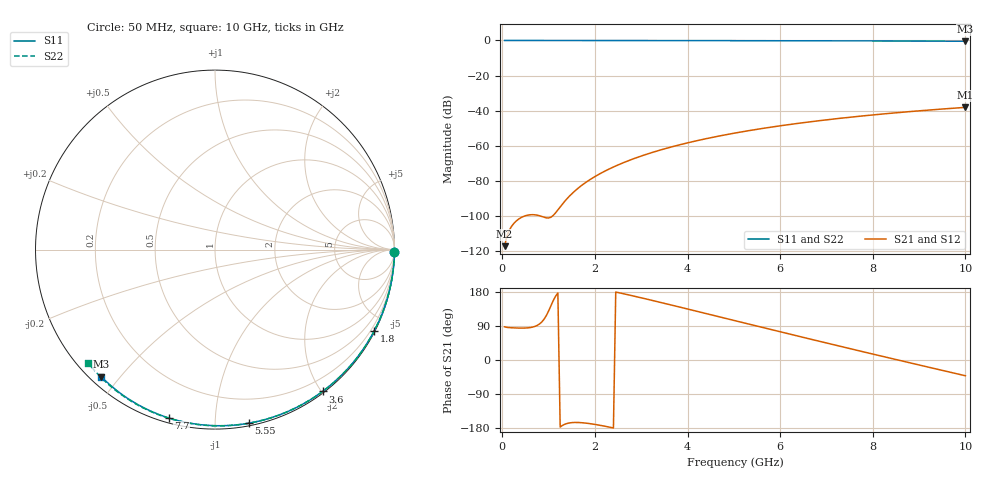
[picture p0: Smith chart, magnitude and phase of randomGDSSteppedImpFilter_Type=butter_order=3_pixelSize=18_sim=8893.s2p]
! freq	dB(S11)	phase(S11)	dB(S12)	phase(S12)
!  dB(S21)	phase(S21)	dB(S22)	phase(S22)
!S-par simulation data
#  GHz  S  DB  R 50
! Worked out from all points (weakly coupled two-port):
!   200 points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, 50 MHz to 10 GHz, reference 50 ohm
!   highest |S21| = -38.13 dB at 10 GHz (marker M1); lowest = -117.2 dB at 50 MHz (marker M2)
!   lowest |S11| = -0.4 dB at 10 GHz (marker M3), VSWR 38.93, Z = 1.54 - j22.3 ohm
!   |S11| at or under -10 dB: nowhere
!   |S22| runs from -0.5 to 0.0 dB; largest |S21 - S12| = 0
!   S11 on the Smith chart (normalised r, x): 50 MHz: open; 1.8 GHz: 0.04, -4.16; 3.6 GHz: 0.02, -2.01; 5.55 GHz: 0.02, -1.21; 7.7 GHz: 0.02, -0.76; 10 GHz: 0.03, -0.45
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0.05  -0.00 -0.8  -117.23 87.5  -117.23 87.5  -0.00 -0.8
0.45  -0.01 -6.9  -100.38 84.2  -100.38 84.2  -0.01 -7.2
0.9  -0.02 -13.6  -100.74 107.3  -100.74 107.3  -0.02 -14.3
1.75  -0.03 -26.3  -81.90 -165.8  -81.90 -165.8  -0.04 -27.6
1.8  -0.03 -27.0  -80.95 -166.5  -80.95 -166.5  -0.04 -28.4
1.85  -0.04 -27.8  -80.05 -167.2  -80.05 -167.2  -0.04 -29.1
2.15  -0.04 -32.2  -75.35 -173.2  -75.35 -173.2  -0.04 -33.7
2.35  -0.05 -35.1  -72.71 -178.1  -72.71 -178.1  -0.05 -36.8
2.55  -0.05 -38.0  -70.36 176.7  -70.36 176.7  -0.05 -39.8
2.95  -0.06 -43.7  -66.32 165.6  -66.32 165.6  -0.06 -45.8
3.4  -0.07 -50.1  -62.54 152.5  -62.54 152.5  -0.07 -52.5
3.6  -0.07 -52.9  -61.05 146.6  -61.05 146.6  -0.07 -55.4
3.9  -0.08 -57.0  -59.00 137.6  -59.00 137.6  -0.08 -59.7
4.3  -0.09 -62.5  -56.55 125.6  -56.55 125.6  -0.09 -65.4
5.05  -0.11 -72.4  -52.64 103.0  -52.64 103.0  -0.12 -75.9
5.55  -0.13 -78.9  -50.43 88.0  -50.43 88.0  -0.14 -82.6
6.1  -0.15 -85.9  -48.27 71.5  -48.27 71.5  -0.16 -89.9
6.7  -0.18 -93.4  -46.19 53.7  -46.19 53.7  -0.19 -97.7
7.7  -0.24 -105.4  -43.23 24.4  -43.23 24.4  -0.25 -110.3
8.35  -0.29 -113.0  -41.58 5.5  -41.58 5.5  -0.30 -118.3
9.2  -0.36 -122.8  -39.68 -18.8  -39.68 -18.8  -0.38 -128.6
10  -0.45 -131.9  -38.13 -41.6  -38.13 -41.6  -0.47 -138.3
